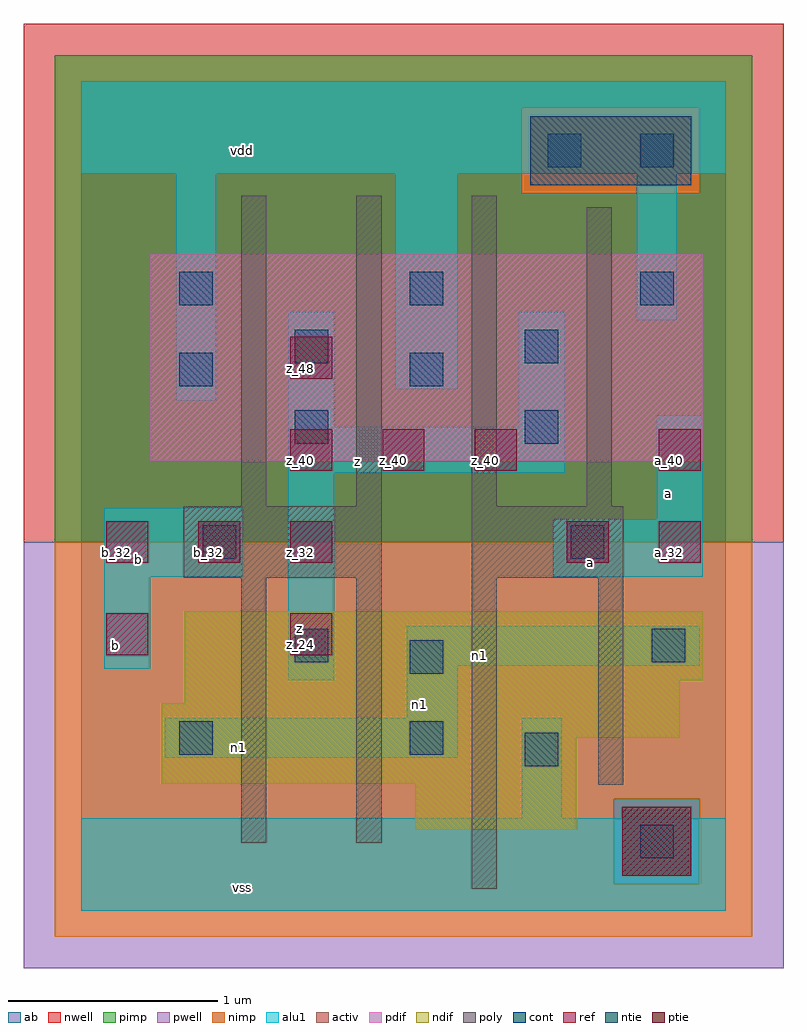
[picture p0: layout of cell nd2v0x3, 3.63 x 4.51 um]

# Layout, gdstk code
import gdstk
lib = gdstk.Library(unit=1e-6, precision=2.5e-09)
def R(c, l, rs):  # rectangles x0, y0, x1, y1
    for r in rs: c.add(gdstk.rectangle(r[:2], r[2:], *l))
def A(c, l, x, y, w, h, nx, ny, dx, dy):  # array of equal rectangles
    R(c, l, [(x+i*dx, y+j*dy, x+i*dx+w, y+j*dy+h) for i in range(nx) for j in range(ny)])
ndif = (3, 0)
pdif = (4, 0)
ntie = (5, 0)
ptie = (6, 0)
ref = (24, 0)
cont = (25, 0)
pwell = (41, 0)
nwell = (42, 0)
activ = (43, 0)
pimp = (44, 0)
nimp = (45, 0)
poly = (46, 0)
alu1 = (49, 0)
ab = (63, 0)

nd2v0x3 = lib.new_cell('nd2v0x3')
R(nd2v0x3, ndif, [(1.595,0.385,2.365,0.605), (0.385,0.605,2.365,0.825), (0.385,0.825,2.86,0.99), (0.495,0.99,2.86,1.1), (0.495,1.1,2.97,1.43)])
R(nd2v0x3, pdif, [(0.33,2.145,2.97,3.135)])
R(nd2v0x3, ntie, [(2.145,3.465,2.915,3.795)])
R(nd2v0x3, ptie, [(2.585,0.165,2.915,0.495)])
A(nd2v0x3, ref, 0.12, 1.66, 0.2, 0.2, 3, 1, 0.44, 0)
A(nd2v0x3, ref, 1, 2.1, 0.2, 0.2, 3, 1, 0.44, 0)
R(nd2v0x3, ref, [(0.12,1.22,0.32,1.42), (1,1.22,1.2,1.42), (2.32,1.66,2.52,1.86), (2.76,1.66,2.96,1.86), (2.76,2.1,2.96,2.3), (1,2.54,1.2,2.74)])
A(nd2v0x3, cont, 0.47, 2.89, 0.16, 0.16, 3, 1, 1.1, 0)
R(nd2v0x3, cont, [(2.67,0.25,2.83,0.41), (2.12,0.69,2.28,0.85), (0.47,0.745,0.63,0.905), (1.57,0.745,1.73,0.905), (1.57,1.13,1.73,1.29), (1.02,1.185,1.18,1.345), (2.725,1.185,2.885,1.345), (0.58,1.68,0.74,1.84), (2.34,1.68,2.5,1.84), (1.02,2.23,1.18,2.39), (2.12,2.23,2.28,2.39), (0.47,2.505,0.63,2.665), (1.57,2.505,1.73,2.665), (1.02,2.615,1.18,2.775), (2.12,2.615,2.28,2.775), (2.23,3.55,2.39,3.71), (2.67,3.55,2.83,3.71)])
R(nd2v0x3, pwell, [(-0.275,-0.275,3.355,1.76)])
R(nd2v0x3, nwell, [(-0.275,1.76,3.355,4.235)])
R(nd2v0x3, activ, [(2.585,0.165,2.915,0.495), (1.595,0.385,2.365,0.605), (0.385,0.605,2.365,0.825), (0.385,0.825,2.86,0.99), (0.495,0.99,2.86,1.1), (0.495,1.1,2.97,1.43), (0.33,2.145,2.97,3.135), (2.145,3.465,2.915,3.795)])
R(nd2v0x3, pimp, [(2.545,0.125,2.955,0.535), (-0.125,1.76,3.205,3.425), (-0.125,3.425,2.105,3.835), (2.955,3.425,3.205,3.835), (-0.125,3.835,3.205,4.085)])
R(nd2v0x3, nimp, [(-0.125,-0.125,3.205,0.125), (-0.125,0.125,2.545,0.535), (2.955,0.125,3.205,0.535), (-0.125,0.535,3.205,1.76), (2.105,3.425,2.955,3.835)])
A(nd2v0x3, poly, 0.765, 1.93, 0.12, 1.485, 3, 1, 0.55, 0)
R(nd2v0x3, poly, [(1.865,0.105,1.985,1.59), (0.765,0.325,0.885,1.59), (1.315,0.325,1.435,1.59), (2.47,0.6,2.59,1.59), (0.49,1.59,1.435,1.93), (1.865,1.59,2.59,1.93), (2.415,1.93,2.535,3.36)])
R(nd2v0x3, alu1, [(0,0,3.08,0.44), (2.105,0.44,2.295,0.92), (0.4,0.73,1.8,0.92), (1.555,0.92,1.8,1.17), (0.99,1.1,1.21,2.09), (0.11,1.155,0.33,1.595), (1.555,1.17,2.955,1.36), (0.11,1.595,0.77,1.925), (2.255,1.595,2.97,1.87), (2.75,1.87,2.97,2.365), (0.99,2.09,2.31,2.31), (0.99,2.31,1.21,2.86), (2.09,2.31,2.31,2.86), (0.455,2.435,0.645,3.52), (1.5,2.49,1.8,3.52), (2.655,2.82,2.845,3.52), (0,3.52,3.08,3.96)])
R(nd2v0x3, ab, [(0,0,3.08,3.96)])
nd2v0x3.add(gdstk.Label('vss', (0.77,0.11), layer=49, texttype=0))
nd2v0x3.add(gdstk.Label('n1', (0.75,0.7775), layer=49, texttype=0))
nd2v0x3.add(gdstk.Label('n1', (1.615,0.9825), layer=49, texttype=0))
nd2v0x3.add(gdstk.Label('n1', (1.905,1.2175), layer=49, texttype=0))
nd2v0x3.add(gdstk.Label('a', (2.4325,1.6625), layer=49, texttype=0))
nd2v0x3.add(gdstk.Label('a', (2.805,1.9925), layer=49, texttype=0))
nd2v0x3.add(gdstk.Label('z', (1.045,1.3475), layer=49, texttype=0))
nd2v0x3.add(gdstk.Label('b', (0.165,1.265), layer=49, texttype=0))
nd2v0x3.add(gdstk.Label('b', (0.275,1.6775), layer=49, texttype=0))
nd2v0x3.add(gdstk.Label('z', (1.32,2.145), layer=49, texttype=0))
nd2v0x3.add(gdstk.Label('vdd', (0.77,3.63), layer=49, texttype=0))
nd2v0x3.add(gdstk.Label('z_48', (1.05,2.59), layer=24, texttype=0))
nd2v0x3.add(gdstk.Label('a_32', (2.37,1.71), layer=24, texttype=0))
nd2v0x3.add(gdstk.Label('a_32', (2.81,1.71), layer=24, texttype=0))
nd2v0x3.add(gdstk.Label('b_32', (0.61,1.71), layer=24, texttype=0))
nd2v0x3.add(gdstk.Label('z_24', (1.05,1.27), layer=24, texttype=0))
nd2v0x3.add(gdstk.Label('z_32', (1.05,1.71), layer=24, texttype=0))
nd2v0x3.add(gdstk.Label('z_40', (1.05,2.15), layer=24, texttype=0))
nd2v0x3.add(gdstk.Label('b_24', (0.17,1.27), layer=24, texttype=0))
nd2v0x3.add(gdstk.Label('b_32', (0.17,1.71), layer=24, texttype=0))
nd2v0x3.add(gdstk.Label('z_40', (1.49,2.15), layer=24, texttype=0))
nd2v0x3.add(gdstk.Label('z_40', (1.93,2.15), layer=24, texttype=0))
nd2v0x3.add(gdstk.Label('a_40', (2.81,2.15), layer=24, texttype=0))

lib.write_gds('nd2v0x3.gds')
